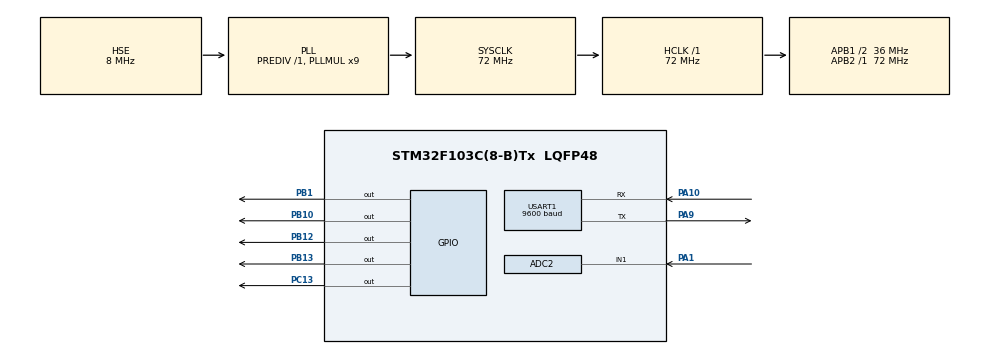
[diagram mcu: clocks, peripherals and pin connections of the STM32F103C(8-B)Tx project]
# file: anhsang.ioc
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ADC2.Channel-0\#ChannelRegularConversion=ADC_CHANNEL_1
ADC2.NbrOfConversionFlag=1
ADC2.Rank-0\#ChannelRegularConversion=1
ADC2.SamplingTime-0\#ChannelRegularConversion=ADC_SAMPLETIME_1CYCLE_5
Mcu.Family=STM32F1
Mcu.Name=STM32F103C(8-B)Tx
Mcu.Package=LQFP48
NVIC.PriorityGroup=NVIC_PRIORITYGROUP_4
NVIC.USART1_IRQn=true\:0\:0\:false\:false\:true\:true\:true\:true
PA1.Signal=ADCx_IN1
PA10.Mode=Asynchronous
PA10.Signal=USART1_RX
PA13.Mode=Serial_Wire
PA13.Signal=SYS_JTMS-SWDIO
PA14.Mode=Serial_Wire
PA14.Signal=SYS_JTCK-SWCLK
PA9.Mode=Asynchronous
PA9.Signal=USART1_TX
PB1.Signal=GPIO_Output
PB10.Signal=GPIO_Output
PB12.Signal=GPIO_Output
PB13.Signal=GPIO_Output
PC13-TAMPER-RTC.Signal=GPIO_Output
PC14-OSC32_IN.Mode=LSE-External-Oscillator
PC14-OSC32_IN.Signal=RCC_OSC32_IN
PC15-OSC32_OUT.Mode=LSE-External-Oscillator
PC15-OSC32_OUT.Signal=RCC_OSC32_OUT
PD0-OSC_IN.Mode=HSE-External-Oscillator
PD0-OSC_IN.Signal=RCC_OSC_IN
PD1-OSC_OUT.Mode=HSE-External-Oscillator
PD1-OSC_OUT.Signal=RCC_OSC_OUT
ProjectManager.HeapSize=0x200
ProjectManager.StackSize=0x400
ProjectManager.TargetToolchain=SW4STM32
RCC.ADCPresc=RCC_ADCPCLK2_DIV6
RCC.AHBFreq_Value=72000000
RCC.APB1CLKDivider=RCC_HCLK_DIV2
RCC.APB1Freq_Value=36000000
RCC.APB1TimFreq_Value=72000000
RCC.APB2Freq_Value=72000000
RCC.APB2TimFreq_Value=72000000
RCC.HCLKFreq_Value=72000000
RCC.PLLMUL=RCC_PLL_MUL9
RCC.PLLSourceVirtual=RCC_PLLSOURCE_HSE
RCC.SYSCLKFreq_VALUE=72000000
RCC.SYSCLKSource=RCC_SYSCLKSOURCE_PLLCLK
RCC.USBFreq_Value=72000000
SH.ADCx_IN1.0=ADC2_IN1,IN1
USART1.BaudRate=9600
USART1.VirtualMode=VM_ASYNC
board=custom

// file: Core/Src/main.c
/* USER CODE BEGIN Header */
/**
  ******************************************************************************
  * @file           : main.c
  * @brief          : Main program body
  ******************************************************************************
  * @attention
  *
  * Copyright (c) 2023 STMicroelectronics.
  * All rights reserved.
  *
  * This software is licensed under terms that can be found in the LICENSE file
  * in the root directory of this software component.
  * If no LICENSE file comes with this software, it is provided AS-IS.
  *
  ******************************************************************************
  */
/* USER CODE END Header */
#include "main.h"

/* USER CODE BEGIN Includes */
#include <stdio.h>
#include "stm32f1xx_hal.h"
#include <stdbool.h>
#include <string.h>
/* USER CODE END Includes */

 ADC_HandleTypeDef hadc2;

UART_HandleTypeDef huart1;

void SystemClock_Config(void);
static void MX_GPIO_Init(void);
static void MX_USART1_UART_Init(void);
static void MX_ADC2_Init(void);

/* USER CODE BEGIN 0 */
uint16_t analog;
char charToTransmit[15];
char receive[15];
uint8_t a ;
/* USER CODE END 0 */

int main(void)
{

  /* MCU Configuration--------------------------------------------------------*/

  /* Reset of all peripherals, Initializes the Flash interface and the Systick. */
  HAL_Init();

  /* Configure the system clock */
  SystemClock_Config();

  /* Initialize all configured peripherals */
  MX_GPIO_Init();
  MX_USART1_UART_Init();
  MX_ADC2_Init();
  /* USER CODE BEGIN 2 */
  HAL_UART_Receive_IT(&huart1,receive,1);
//  HAL_ADC_Start(&hadc2);
  /* USER CODE END 2 */

  /* Infinite loop */
  while (1)
  {

    /* USER CODE BEGIN 3 */
	HAL_ADC_Start(&hadc2);
	HAL_ADC_PollForConversion(&hadc2,100);
	analog = HAL_ADC_GetValue(&hadc2);
	if(analog > 2700){
		analog = 1;
	}
	else{
		analog = 0;
	}
	snprintf(charToTransmit,sizeof(charToTransmit),"3_4_%d ",analog);
	HAL_UART_Transmit(&huart1,charToTransmit,strlen(charToTransmit),100);

	HAL_Delay(8000);

  }
  /* USER CODE END 3 */
}

void SystemClock_Config(void)
{
  RCC_OscInitTypeDef RCC_OscInitStruct = {0};
  RCC_ClkInitTypeDef RCC_ClkInitStruct = {0};
  RCC_PeriphCLKInitTypeDef PeriphClkInit = {0};

  /** Initializes the RCC Oscillators according to the specified parameters
  * in the RCC_OscInitTypeDef structure.
  */
  RCC_OscInitStruct.OscillatorType = RCC_OSCILLATORTYPE_HSE;
  RCC_OscInitStruct.HSEState = RCC_HSE_ON;
  RCC_OscInitStruct.HSEPredivValue = RCC_HSE_PREDIV_DIV1;
  RCC_OscInitStruct.HSIState = RCC_HSI_ON;
  RCC_OscInitStruct.PLL.PLLState = RCC_PLL_ON;
  RCC_OscInitStruct.PLL.PLLSource = RCC_PLLSOURCE_HSE;
  RCC_OscInitStruct.PLL.PLLMUL = RCC_PLL_MUL9;
  if (HAL_RCC_OscConfig(&RCC_OscInitStruct) != HAL_OK)
  {
    Error_Handler();
  }

  /** Initializes the CPU, AHB and APB buses clocks
  */
  RCC_ClkInitStruct.ClockType = RCC_CLOCKTYPE_HCLK|RCC_CLOCKTYPE_SYSCLK
                              |RCC_CLOCKTYPE_PCLK1|RCC_CLOCKTYPE_PCLK2;
  RCC_ClkInitStruct.SYSCLKSource = RCC_SYSCLKSOURCE_PLLCLK;
  RCC_ClkInitStruct.AHBCLKDivider = RCC_SYSCLK_DIV1;
  RCC_ClkInitStruct.APB1CLKDivider = RCC_HCLK_DIV2;
  RCC_ClkInitStruct.APB2CLKDivider = RCC_HCLK_DIV1;

  if (HAL_RCC_ClockConfig(&RCC_ClkInitStruct, FLASH_LATENCY_2) != HAL_OK)
  {
    Error_Handler();
  }
  PeriphClkInit.PeriphClockSelection = RCC_PERIPHCLK_ADC;
  PeriphClkInit.AdcClockSelection = RCC_ADCPCLK2_DIV6;
  if (HAL_RCCEx_PeriphCLKConfig(&PeriphClkInit) != HAL_OK)
  {
    Error_Handler();
  }
}

static void MX_ADC2_Init(void)
{

  ADC_ChannelConfTypeDef sConfig = {0};

  /** Common config
  */
  hadc2.Instance = ADC2;
  hadc2.Init.ScanConvMode = ADC_SCAN_DISABLE;
  hadc2.Init.ContinuousConvMode = DISABLE;
  hadc2.Init.DiscontinuousConvMode = DISABLE;
  hadc2.Init.ExternalTrigConv = ADC_SOFTWARE_START;
  hadc2.Init.DataAlign = ADC_DATAALIGN_RIGHT;
  hadc2.Init.NbrOfConversion = 1;
  if (HAL_ADC_Init(&hadc2) != HAL_OK)
  {
    Error_Handler();
  }

  /** Configure Regular Channel
  */
  sConfig.Channel = ADC_CHANNEL_1;
  sConfig.Rank = ADC_REGULAR_RANK_1;
  sConfig.SamplingTime = ADC_SAMPLETIME_1CYCLE_5;
  if (HAL_ADC_ConfigChannel(&hadc2, &sConfig) != HAL_OK)
  {
    Error_Handler();
  }

}

static void MX_USART1_UART_Init(void)
{

  huart1.Instance = USART1;
  huart1.Init.BaudRate = 9600;
  huart1.Init.WordLength = UART_WORDLENGTH_8B;
  huart1.Init.StopBits = UART_STOPBITS_1;
  huart1.Init.Parity = UART_PARITY_NONE;
  huart1.Init.Mode = UART_MODE_TX_RX;
  huart1.Init.HwFlowCtl = UART_HWCONTROL_NONE;
  huart1.Init.OverSampling = UART_OVERSAMPLING_16;
  if (HAL_UART_Init(&huart1) != HAL_OK)
  {
    Error_Handler();
  }

}

static void MX_GPIO_Init(void)
{
  GPIO_InitTypeDef GPIO_InitStruct = {0};

  /* GPIO Ports Clock Enable */
  __HAL_RCC_GPIOC_CLK_ENABLE();
  __HAL_RCC_GPIOD_CLK_ENABLE();
  __HAL_RCC_GPIOA_CLK_ENABLE();
  __HAL_RCC_GPIOB_CLK_ENABLE();

  /*Configure GPIO pin Output Level */
  HAL_GPIO_WritePin(GPIOC, GPIO_PIN_13, GPIO_PIN_RESET);

  /*Configure GPIO pin Output Level */
  HAL_GPIO_WritePin(GPIOB, GPIO_PIN_1|GPIO_PIN_10|GPIO_PIN_12|GPIO_PIN_13, GPIO_PIN_RESET);

  /*Configure GPIO pin : PC13 */
  GPIO_InitStruct.Pin = GPIO_PIN_13;
  GPIO_InitStruct.Mode = GPIO_MODE_OUTPUT_PP;
  GPIO_InitStruct.Pull = GPIO_NOPULL;
  GPIO_InitStruct.Speed = GPIO_SPEED_FREQ_LOW;
  HAL_GPIO_Init(GPIOC, &GPIO_InitStruct);

  /*Configure GPIO pins : PB1 PB10 PB12 PB13 */
  GPIO_InitStruct.Pin = GPIO_PIN_1|GPIO_PIN_10|GPIO_PIN_12|GPIO_PIN_13;
  GPIO_InitStruct.Mode = GPIO_MODE_OUTPUT_PP;
  GPIO_InitStruct.Pull = GPIO_NOPULL;
  GPIO_InitStruct.Speed = GPIO_SPEED_FREQ_LOW;
  HAL_GPIO_Init(GPIOB, &GPIO_InitStruct);

}

void Error_Handler(void)
{
  __disable_irq();
  while (1)
  {
  }
}
